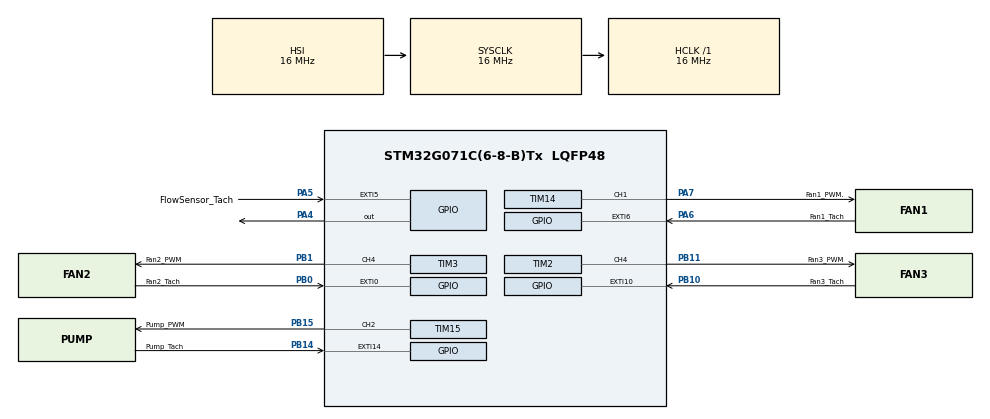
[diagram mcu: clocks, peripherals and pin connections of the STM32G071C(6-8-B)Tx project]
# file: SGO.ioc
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Mcu.Family=STM32G0
Mcu.Name=STM32G071C(6-8-B)Tx
Mcu.Package=LQFP48
NVIC.EXTI0_1_IRQn=true\:0\:0\:false\:false\:true\:true\:true\:true
NVIC.EXTI4_15_IRQn=true\:0\:0\:false\:false\:true\:true\:true\:true
PA4.Signal=GPIO_Output
PA5.GPIO_Label=FlowSensor_Tach
PA5.GPIO_PuPd=GPIO_PULLUP
PA5.Signal=GPXTI5
PA6.GPIO_Label=Fan1_Tach
PA6.GPIO_PuPd=GPIO_PULLUP
PA6.Signal=GPXTI6
PA7.GPIO_Label=Fan1_PWM.
PA7.Signal=S_TIM14_CH1
PB0.GPIO_Label=Fan2_Tach
PB0.GPIO_PuPd=GPIO_PULLUP
PB0.Signal=GPXTI0
PB1.GPIO_Label=Fan2_PWM
PB1.Signal=S_TIM3_CH4
PB10.GPIO_Label=Fan3_Tach
PB10.GPIO_PuPd=GPIO_PULLUP
PB10.Signal=GPXTI10
PB11.GPIO_Label=Fan3_PWM
PB11.Signal=S_TIM2_CH4
PB14.GPIO_Label=Pump_Tach
PB14.GPIO_PuPd=GPIO_PULLUP
PB14.Signal=GPXTI14
PB15.GPIO_Label=Pump_PWM
PB15.Signal=S_TIM15_CH2
ProjectManager.HeapSize=0x200
ProjectManager.StackSize=0x400
ProjectManager.TargetToolchain=MDK-ARM V5.32
RCC.AHBFreq_Value=16000000
RCC.CortexFreq_Value=16000000
RCC.EXTERNAL_CLOCK_VALUE=48000
RCC.HCLKFreq_Value=16000000
RCC.HSE_VALUE=8000000
RCC.HSI_VALUE=16000000
RCC.LSE_VALUE=32768
RCC.SYSCLKFreq_VALUE=16000000
RCC.VCOOutputFreq_Value=128000000
SH.S_TIM14_CH1.0=TIM14_CH1,PWM Generation1 CH1
SH.S_TIM15_CH2.0=TIM15_CH2,PWM Generation2 CH2
SH.S_TIM2_CH4.0=TIM2_CH4,PWM Generation4 CH4
SH.S_TIM3_CH4.0=TIM3_CH4,PWM Generation4 CH4
TIM14.Channel=TIM_CHANNEL_1
TIM14.Period=99
TIM15.Channel-PWM\ Generation2\ CH2=TIM_CHANNEL_2
TIM15.Period=99
TIM15.Prescaler=0
TIM2.Channel-PWM\ Generation4\ CH4=TIM_CHANNEL_4
TIM2.Period=99
TIM3.Channel-PWM\ Generation4\ CH4=TIM_CHANNEL_4
TIM3.Period=99
VP_SYS_VS_DBSignals.Mode=DisableDeadBatterySignals
VP_TIM14_VS_ClockSourceINT.Mode=Enable_Timer
board=custom

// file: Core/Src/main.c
/* USER CODE BEGIN Header */
/**
  ******************************************************************************
  * @file           : main.c
  * @brief          : Main program body
  ******************************************************************************
  * @attention
  *
  * Copyright (c) 2022 STMicroelectronics.
  * All rights reserved.
  *
  * This software is licensed under terms that can be found in the LICENSE file
  * in the root directory of this software component.
  * If no LICENSE file comes with this software, it is provided AS-IS.
  *
  ******************************************************************************
  */
/* USER CODE END Header */
#include "main.h"

TIM_HandleTypeDef htim2;
TIM_HandleTypeDef htim3;
TIM_HandleTypeDef htim14;
TIM_HandleTypeDef htim15;

void SystemClock_Config(void);
static void MX_GPIO_Init(void);
static void MX_TIM15_Init(void);
static void MX_TIM2_Init(void);
static void MX_TIM3_Init(void);
static void MX_TIM14_Init(void);
/* USER CODE BEGIN PFP */
uint16_t Get_Fan_RPM(uint16_t counter);
uint16_t Get_Flow_Sensor_Rate(uint16_t counter);

uint16_t pump_pwm_value = 99;
uint16_t fan1_pwm_value = 59;
uint16_t fan2_pwm_value = 59;
uint16_t fan3_pwm_value = 59;

uint16_t flow_sensor_counter = 0;
uint16_t pump_counter = 0;
uint16_t fan1_counter = 0;
uint16_t fan2_counter = 0;
uint16_t fan3_counter = 0;

uint8_t flow_sensor_coefficient = 98;

uint16_t flow_sensor_rate = 0;
uint16_t pump_rpm = 0;
uint16_t fan1_rpm = 0;
uint16_t fan2_rpm = 0;
uint16_t fan3_rpm = 0;

/* USER CODE END PFP */

int main(void)
{

  /* MCU Configuration--------------------------------------------------------*/

  /* Reset of all peripherals, Initializes the Flash interface and the Systick. */
  HAL_Init();

  /* Configure the system clock */
  SystemClock_Config();

  /* Initialize all configured peripherals */
  MX_GPIO_Init();
  MX_TIM15_Init();
  MX_TIM2_Init();
  MX_TIM3_Init();
  MX_TIM14_Init();
  /* USER CODE BEGIN 2 */
	HAL_TIM_PWM_Start(&htim15, TIM_CHANNEL_2);	// PWM for Pump
	HAL_TIM_PWM_Start(&htim14, TIM_CHANNEL_1);	// PWM for Fan1
	HAL_TIM_PWM_Start(&htim3, TIM_CHANNEL_4);	// PWM for Fan2
	HAL_TIM_PWM_Start(&htim2, TIM_CHANNEL_4);	// PWM for Fan3
	HAL_GPIO_WritePin(GPIOA, GPIO_PIN_4, GPIO_PIN_RESET);

	TIM15->CCR2 = pump_pwm_value;	// PWM for Pump
	TIM14->CCR1 = fan1_pwm_value;	// PWM for Fan1
	TIM3->CCR4 = fan2_pwm_value;	// PWM for Fan2
	TIM2->CCR4 = fan3_pwm_value;	// PWM for Fan3
  /* USER CODE END 2 */

  /* Infinite loop */
  while (1)
  {
		HAL_Delay(1000);
		flow_sensor_rate = Get_Flow_Sensor_Rate(flow_sensor_counter);
		pump_rpm = Get_Fan_RPM(pump_counter);
		fan1_rpm = Get_Fan_RPM(fan1_counter);
		fan2_rpm = Get_Fan_RPM(fan2_counter);
		fan3_rpm = Get_Fan_RPM(fan3_counter);

		flow_sensor_counter = 0;
		pump_counter = 0;
		fan1_counter = 0;
		fan2_counter = 0;
		fan3_counter = 0;
  }
}

void SystemClock_Config(void)
{
  RCC_OscInitTypeDef RCC_OscInitStruct = {0};
  RCC_ClkInitTypeDef RCC_ClkInitStruct = {0};

  /** Configure the main internal regulator output voltage
  */
  HAL_PWREx_ControlVoltageScaling(PWR_REGULATOR_VOLTAGE_SCALE1);

  /** Initializes the RCC Oscillators according to the specified parameters
  * in the RCC_OscInitTypeDef structure.
  */
  RCC_OscInitStruct.OscillatorType = RCC_OSCILLATORTYPE_HSI;
  RCC_OscInitStruct.HSIState = RCC_HSI_ON;
  RCC_OscInitStruct.HSIDiv = RCC_HSI_DIV1;
  RCC_OscInitStruct.HSICalibrationValue = RCC_HSICALIBRATION_DEFAULT;
  RCC_OscInitStruct.PLL.PLLState = RCC_PLL_NONE;
  if (HAL_RCC_OscConfig(&RCC_OscInitStruct) != HAL_OK)
  {
    Error_Handler();
  }

  /** Initializes the CPU, AHB and APB buses clocks
  */
  RCC_ClkInitStruct.ClockType = RCC_CLOCKTYPE_HCLK|RCC_CLOCKTYPE_SYSCLK
                              |RCC_CLOCKTYPE_PCLK1;
  RCC_ClkInitStruct.SYSCLKSource = RCC_SYSCLKSOURCE_HSI;
  RCC_ClkInitStruct.AHBCLKDivider = RCC_SYSCLK_DIV1;
  RCC_ClkInitStruct.APB1CLKDivider = RCC_HCLK_DIV1;

  if (HAL_RCC_ClockConfig(&RCC_ClkInitStruct, FLASH_LATENCY_0) != HAL_OK)
  {
    Error_Handler();
  }
}

static void MX_TIM2_Init(void)
{

  TIM_MasterConfigTypeDef sMasterConfig = {0};
  TIM_OC_InitTypeDef sConfigOC = {0};

  htim2.Instance = TIM2;
  htim2.Init.Prescaler = 0;
  htim2.Init.CounterMode = TIM_COUNTERMODE_UP;
  htim2.Init.Period = 99;
  htim2.Init.ClockDivision = TIM_CLOCKDIVISION_DIV1;
  htim2.Init.AutoReloadPreload = TIM_AUTORELOAD_PRELOAD_DISABLE;
  if (HAL_TIM_PWM_Init(&htim2) != HAL_OK)
  {
    Error_Handler();
  }
  sMasterConfig.MasterOutputTrigger = TIM_TRGO_RESET;
  sMasterConfig.MasterSlaveMode = TIM_MASTERSLAVEMODE_DISABLE;
  if (HAL_TIMEx_MasterConfigSynchronization(&htim2, &sMasterConfig) != HAL_OK)
  {
    Error_Handler();
  }
  sConfigOC.OCMode = TIM_OCMODE_PWM1;
  sConfigOC.Pulse = 0;
  sConfigOC.OCPolarity = TIM_OCPOLARITY_HIGH;
  sConfigOC.OCFastMode = TIM_OCFAST_DISABLE;
  if (HAL_TIM_PWM_ConfigChannel(&htim2, &sConfigOC, TIM_CHANNEL_4) != HAL_OK)
  {
    Error_Handler();
  }
  HAL_TIM_MspPostInit(&htim2);

}

static void MX_TIM3_Init(void)
{

  TIM_MasterConfigTypeDef sMasterConfig = {0};
  TIM_OC_InitTypeDef sConfigOC = {0};

  htim3.Instance = TIM3;
  htim3.Init.Prescaler = 0;
  htim3.Init.CounterMode = TIM_COUNTERMODE_UP;
  htim3.Init.Period = 99;
  htim3.Init.ClockDivision = TIM_CLOCKDIVISION_DIV1;
  htim3.Init.AutoReloadPreload = TIM_AUTORELOAD_PRELOAD_DISABLE;
  if (HAL_TIM_PWM_Init(&htim3) != HAL_OK)
  {
    Error_Handler();
  }
  sMasterConfig.MasterOutputTrigger = TIM_TRGO_RESET;
  sMasterConfig.MasterSlaveMode = TIM_MASTERSLAVEMODE_DISABLE;
  if (HAL_TIMEx_MasterConfigSynchronization(&htim3, &sMasterConfig) != HAL_OK)
  {
    Error_Handler();
  }
  sConfigOC.OCMode = TIM_OCMODE_PWM1;
  sConfigOC.Pulse = 0;
  sConfigOC.OCPolarity = TIM_OCPOLARITY_HIGH;
  sConfigOC.OCFastMode = TIM_OCFAST_DISABLE;
  if (HAL_TIM_PWM_ConfigChannel(&htim3, &sConfigOC, TIM_CHANNEL_4) != HAL_OK)
  {
    Error_Handler();
  }
  HAL_TIM_MspPostInit(&htim3);

}

static void MX_TIM14_Init(void)
{

  TIM_OC_InitTypeDef sConfigOC = {0};

  htim14.Instance = TIM14;
  htim14.Init.Prescaler = 0;
  htim14.Init.CounterMode = TIM_COUNTERMODE_UP;
  htim14.Init.Period = 99;
  htim14.Init.ClockDivision = TIM_CLOCKDIVISION_DIV1;
  htim14.Init.AutoReloadPreload = TIM_AUTORELOAD_PRELOAD_DISABLE;
  if (HAL_TIM_Base_Init(&htim14) != HAL_OK)
  {
    Error_Handler();
  }
  if (HAL_TIM_PWM_Init(&htim14) != HAL_OK)
  {
    Error_Handler();
  }
  sConfigOC.OCMode = TIM_OCMODE_PWM1;
  sConfigOC.Pulse = 0;
  sConfigOC.OCPolarity = TIM_OCPOLARITY_HIGH;
  sConfigOC.OCFastMode = TIM_OCFAST_DISABLE;
  if (HAL_TIM_PWM_ConfigChannel(&htim14, &sConfigOC, TIM_CHANNEL_1) != HAL_OK)
  {
    Error_Handler();
  }
  HAL_TIM_MspPostInit(&htim14);

}

static void MX_TIM15_Init(void)
{

  TIM_MasterConfigTypeDef sMasterConfig = {0};
  TIM_OC_InitTypeDef sConfigOC = {0};
  TIM_BreakDeadTimeConfigTypeDef sBreakDeadTimeConfig = {0};

  htim15.Instance = TIM15;
  htim15.Init.Prescaler = 0;
  htim15.Init.CounterMode = TIM_COUNTERMODE_UP;
  htim15.Init.Period = 99;
  htim15.Init.ClockDivision = TIM_CLOCKDIVISION_DIV1;
  htim15.Init.RepetitionCounter = 0;
  htim15.Init.AutoReloadPreload = TIM_AUTORELOAD_PRELOAD_DISABLE;
  if (HAL_TIM_PWM_Init(&htim15) != HAL_OK)
  {
    Error_Handler();
  }
  sMasterConfig.MasterOutputTrigger = TIM_TRGO_RESET;
  sMasterConfig.MasterSlaveMode = TIM_MASTERSLAVEMODE_DISABLE;
  if (HAL_TIMEx_MasterConfigSynchronization(&htim15, &sMasterConfig) != HAL_OK)
  {
    Error_Handler();
  }
  sConfigOC.OCMode = TIM_OCMODE_PWM1;
  sConfigOC.Pulse = 0;
  sConfigOC.OCPolarity = TIM_OCPOLARITY_HIGH;
  sConfigOC.OCNPolarity = TIM_OCNPOLARITY_HIGH;
  sConfigOC.OCFastMode = TIM_OCFAST_DISABLE;
  sConfigOC.OCIdleState = TIM_OCIDLESTATE_RESET;
  sConfigOC.OCNIdleState = TIM_OCNIDLESTATE_RESET;
  if (HAL_TIM_PWM_ConfigChannel(&htim15, &sConfigOC, TIM_CHANNEL_2) != HAL_OK)
  {
    Error_Handler();
  }
  sBreakDeadTimeConfig.OffStateRunMode = TIM_OSSR_DISABLE;
  sBreakDeadTimeConfig.OffStateIDLEMode = TIM_OSSI_DISABLE;
  sBreakDeadTimeConfig.LockLevel = TIM_LOCKLEVEL_OFF;
  sBreakDeadTimeConfig.DeadTime = 0;
  sBreakDeadTimeConfig.BreakState = TIM_BREAK_DISABLE;
  sBreakDeadTimeConfig.BreakPolarity = TIM_BREAKPOLARITY_HIGH;
  sBreakDeadTimeConfig.BreakFilter = 0;
  sBreakDeadTimeConfig.AutomaticOutput = TIM_AUTOMATICOUTPUT_DISABLE;
  if (HAL_TIMEx_ConfigBreakDeadTime(&htim15, &sBreakDeadTimeConfig) != HAL_OK)
  {
    Error_Handler();
  }
  HAL_TIM_MspPostInit(&htim15);

}

static void MX_GPIO_Init(void)
{
  GPIO_InitTypeDef GPIO_InitStruct = {0};

  /* GPIO Ports Clock Enable */
  __HAL_RCC_GPIOA_CLK_ENABLE();
  __HAL_RCC_GPIOB_CLK_ENABLE();

  /*Configure GPIO pin Output Level */
  HAL_GPIO_WritePin(GPIOA, GPIO_PIN_4, GPIO_PIN_RESET);

  /*Configure GPIO pin : PA4 */
  GPIO_InitStruct.Pin = GPIO_PIN_4;
  GPIO_InitStruct.Mode = GPIO_MODE_OUTPUT_PP;
  GPIO_InitStruct.Pull = GPIO_NOPULL;
  GPIO_InitStruct.Speed = GPIO_SPEED_FREQ_LOW;
  HAL_GPIO_Init(GPIOA, &GPIO_InitStruct);

  /*Configure GPIO pins : FlowSensor_Tach_Pin Fan1_Tach_Pin */
  GPIO_InitStruct.Pin = FlowSensor_Tach_Pin|Fan1_Tach_Pin;
  GPIO_InitStruct.Mode = GPIO_MODE_IT_RISING;
  GPIO_InitStruct.Pull = GPIO_PULLUP;
  HAL_GPIO_Init(GPIOA, &GPIO_InitStruct);

  /*Configure GPIO pins : Fan2_Tach_Pin Fan3_Tach_Pin Pump_Tach_Pin */
  GPIO_InitStruct.Pin = Fan2_Tach_Pin|Fan3_Tach_Pin|Pump_Tach_Pin;
  GPIO_InitStruct.Mode = GPIO_MODE_IT_RISING;
  GPIO_InitStruct.Pull = GPIO_PULLUP;
  HAL_GPIO_Init(GPIOB, &GPIO_InitStruct);

  /* EXTI interrupt init*/
  HAL_NVIC_SetPriority(EXTI0_1_IRQn, 0, 0);
  HAL_NVIC_EnableIRQ(EXTI0_1_IRQn);

  HAL_NVIC_SetPriority(EXTI4_15_IRQn, 0, 0);
  HAL_NVIC_EnableIRQ(EXTI4_15_IRQn);

}

/* USER CODE BEGIN 4 */
void HAL_GPIO_EXTI_Rising_Callback(uint16_t GPIO_Pin)
{
  /* Prevent unused argument(s) compilation warning */
	switch (GPIO_Pin)
		{
			case FlowSensor_Tach_Pin:
				flow_sensor_counter++;
				break;
			case Pump_Tach_Pin:
				pump_counter++;
				break;
			case Fan1_Tach_Pin:
				fan1_counter++;
				break;
			case Fan2_Tach_Pin:
				fan2_counter++;
				break;
			case Fan3_Tach_Pin:
				fan3_counter++;
				break;
		}
}

uint16_t Get_Fan_RPM(uint16_t counter) // function to get RPM
{
	uint16_t rpm = counter * 60;
	counter = 0;
	return rpm;
}

uint16_t Get_Flow_Sensor_Rate(uint16_t counter)
{
	uint16_t rate = counter * 3600 / flow_sensor_coefficient;
	counter = 0;
	return rate;
}

/* USER CODE END 4 */

void Error_Handler(void)
{
  __disable_irq();
  while (1)
  {
	}
}
